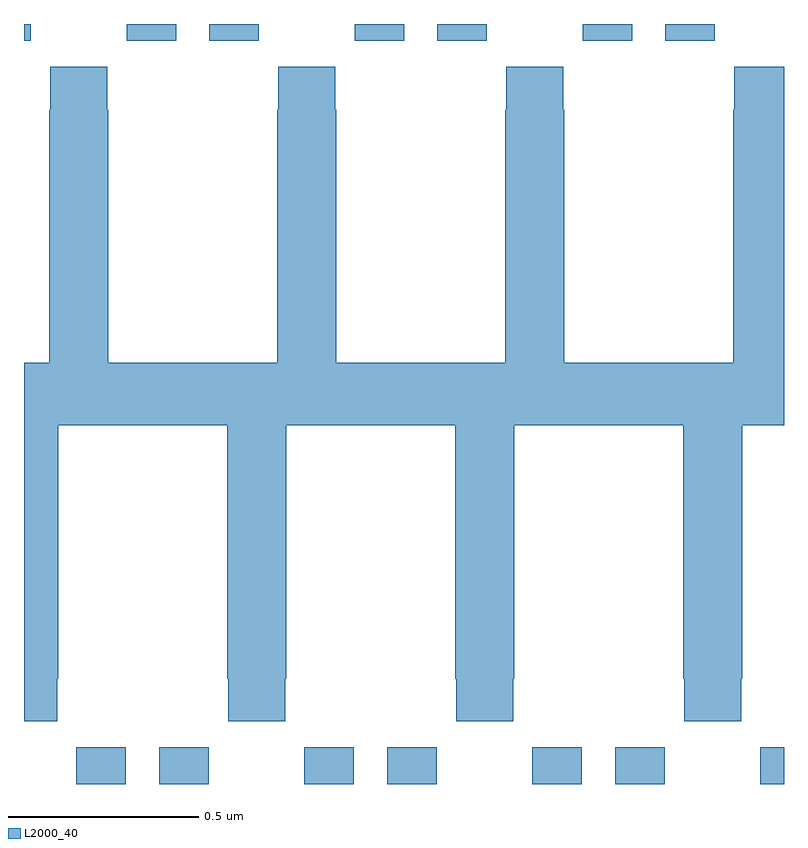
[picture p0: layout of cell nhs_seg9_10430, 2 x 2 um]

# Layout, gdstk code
import gdstk
lib = gdstk.Library(unit=1e-6, precision=1e-09)
def R(c, l, rs):  # rectangles x0, y0, x1, y1
    for r in rs: c.add(gdstk.rectangle(r[:2], r[2:], *l))
def P(c, l, *ps):  # polygons
    for p in ps: c.add(gdstk.Polygon(p, *l))
L2000_40 = (2000, 40)

nhs_seg9_10430 = lib.new_cell('nhs_seg9_10430')
R(nhs_seg9_10430, L2000_40, [(243.138,1171.5,243.268,1171.597), (243.356,1171.5,243.486,1171.597), (243.738,1171.5,243.868,1171.597), (243.956,1171.5,244.086,1171.597), (244.338,1171.5,244.468,1171.597), (244.556,1171.5,244.686,1171.597), (244.938,1171.5,245,1171.597), (243,1173.456,243.018,1173.5), (243.27,1173.456,243.4,1173.5), (243.488,1173.456,243.618,1173.5), (243.87,1173.456,244,1173.5), (244.088,1173.456,244.218,1173.5), (244.47,1173.456,244.6,1173.5), (244.688,1173.456,244.818,1173.5)])
P(nhs_seg9_10430, L2000_40, [(243.087,1171.777),(243.09,1171.777),(243.09,1172.444),(243.535,1172.444),(243.535,1171.777),(243.537,1171.777),(243.537,1171.665),(243.687,1171.665),(243.687,1171.777),(243.69,1171.777),(243.69,1172.444),(244.135,1172.444),(244.135,1171.777),(244.137,1171.777),(244.137,1171.665),(244.287,1171.665),(244.287,1171.777),(244.29,1171.777),(244.29,1172.444),(244.735,1172.444),(244.735,1171.777),(244.737,1171.777),(244.737,1171.665),(244.887,1171.665),(244.887,1171.777),(244.89,1171.777),(244.89,1172.444),(245,1172.444),(245,1173.388),(244.869,1173.388),(244.869,1173.275),(244.867,1173.275),(244.867,1172.608),(244.422,1172.608),(244.422,1173.275),(244.419,1173.275),(244.419,1173.388),(244.269,1173.388),(244.269,1173.275),(244.267,1173.275),(244.267,1172.608),(243.822,1172.608),(243.822,1173.275),(243.819,1173.275),(243.819,1173.388),(243.669,1173.388),(243.669,1173.275),(243.667,1173.275),(243.667,1172.608),(243.222,1172.608),(243.222,1173.275),(243.219,1173.275),(243.219,1173.388),(243.069,1173.388),(243.069,1173.275),(243.067,1173.275),(243.067,1172.608),(243,1172.608),(243,1171.665),(243.087,1171.665)])

lib.write_gds('nhs_seg9_10430.gds')
